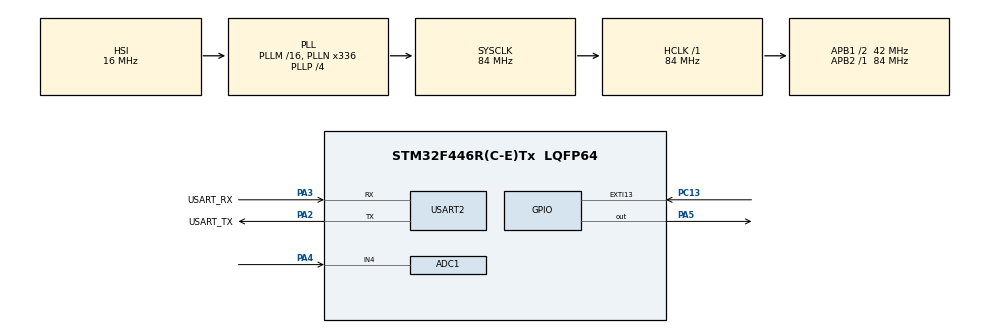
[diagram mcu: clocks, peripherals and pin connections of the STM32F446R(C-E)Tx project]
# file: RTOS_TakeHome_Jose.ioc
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ADC1.Channel-0\#ChannelRegularConversion=ADC_CHANNEL_4
ADC1.NbrOfConversionFlag=1
ADC1.Rank-0\#ChannelRegularConversion=1
ADC1.SamplingTime-0\#ChannelRegularConversion=ADC_SAMPLETIME_3CYCLES
ADC1.master=1
FREERTOS.Tasks01=defaultTask,24,128,StartDefaultTask,Default,NULL,Dynamic,NULL,NULL
Mcu.Family=STM32F4
Mcu.Name=STM32F446R(C-E)Tx
Mcu.Package=LQFP64
NUCLEO-F446RE.BUTTON=1
NUCLEO-F446RE.LD1=true
NVIC.EXTI15_10_IRQn=true\:5\:0\:false\:false\:true\:true\:false\:true\:true
NVIC.PriorityGroup=NVIC_PRIORITYGROUP_4
NVIC.TIM6_DAC_IRQn=true\:15\:0\:false\:false\:true\:false\:false\:true\:true
NVIC.TimeBase=TIM6_DAC_IRQn
NVIC.TimeBaseIP=TIM6
PA13.GPIO_Label=TMS
PA13.Mode=Serial_Wire
PA13.Signal=SYS_JTMS-SWDIO
PA14.GPIO_Label=TCK
PA14.Mode=Serial_Wire
PA14.Signal=SYS_JTCK-SWCLK
PA2.GPIO_Label=USART_TX
PA2.Mode=Asynchronous
PA2.Signal=USART2_TX
PA3.GPIO_Label=USART_RX
PA3.Mode=Asynchronous
PA3.Signal=USART2_RX
PA4.Signal=ADCx_IN4
PA5.Signal=GPIO_Output
PB3.GPIO_Label=SWO
PB3.Signal=SYS_JTDO-SWO
PC13.Signal=GPXTI13
PC14-OSC32_IN.Signal=RCC_OSC32_IN
PC15-OSC32_OUT.Signal=RCC_OSC32_OUT
PH0-OSC_IN.Signal=RCC_OSC_IN
PH1-OSC_OUT.Signal=RCC_OSC_OUT
ProjectManager.HeapSize=0x200
ProjectManager.StackSize=0x400
ProjectManager.TargetToolchain=STM32CubeIDE
RCC.AHBFreq_Value=84000000
RCC.APB1CLKDivider=RCC_HCLK_DIV2
RCC.APB1Freq_Value=42000000
RCC.APB1TimFreq_Value=84000000
RCC.APB2Freq_Value=84000000
RCC.APB2TimFreq_Value=84000000
RCC.CortexFreq_Value=84000000
RCC.FLatency-AdvancedSettings=FLASH_LATENCY_2
RCC.HCLKFreq_Value=84000000
RCC.HSE_VALUE=8000000
RCC.HSI_VALUE=16000000
RCC.LSE_VALUE=32768
RCC.PLLN=336
RCC.PLLP=RCC_PLLP_DIV4
RCC.SYSCLKFreq_VALUE=84000000
RCC.SYSCLKSource=RCC_SYSCLKSOURCE_PLLCLK
RCC.USBFreq_Value=168000000
RCC.VCOOutputFreq_Value=336000000
SH.ADCx_IN4.0=ADC1_IN4,IN4
USART2.VirtualMode=VM_ASYNC
VP_FREERTOS_VS_CMSIS_V2.Mode=CMSIS_V2
VP_NUCLEO-F446RE_VS_BSP_COMMON.Mode=COMMON
VP_SYS_VS_tim6.Mode=TIM6
board=NUCLEO-F446RE

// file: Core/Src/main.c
/* USER CODE BEGIN Header */
/**
  ******************************************************************************
  * @file           : main.c
  * @brief : FreeRTOS sensor sampling, UART telemetry, and host commands
  ******************************************************************************
  * @attention
  *
  * Copyright (c) 2026 STMicroelectronics.
  * All rights reserved.
  *
  * This software is licensed under terms that can be found in the LICENSE file
  * in the root directory of this software component.
  * If no LICENSE file comes with this software, it is provided AS-IS.
  *
  ******************************************************************************
  */
/* Application sampling, framing, and command handling implemented by Jose Gonzalez. */
/* USER CODE END Header */
#include "main.h"
#include "cmsis_os.h"

/* USER CODE BEGIN Includes */
#include <stdio.h>
#include <string.h>
#include "FreeRTOS.h"
/* USER CODE END Includes */

/* USER CODE BEGIN PTD */
typedef struct
{
    uint32_t timestamp;
    uint16_t value;
    uint32_t sequence;
} SensorSample;
/* One received byte plus a generation marker for detecting receive gaps. */
typedef struct
{
    uint32_t generation;
    uint8_t byte;
} CommandRxByte;
/* USER CODE END PTD */

/* USER CODE BEGIN PD */

#define FRAME_SYNC1          0xAA
#define FRAME_SYNC2          0x55
#define FRAME_VERSION        0x01

#define FRAME_TYPE_SENSOR    0x01
#define FRAME_TYPE_STATUS    0x02

#define CMD_START            0x10
#define CMD_STOP             0x11
#define CMD_SET_RATE         0x12
#define CMD_STATUS           0x13

#define MAX_PAYLOAD_LENGTH   32
#define MAX_FRAME_LENGTH     (7 + MAX_PAYLOAD_LENGTH)

#define COMMAND_RX_QUEUE_LENGTH 128U

#define MIN_SAMPLE_PERIOD_MS 10U
#define MAX_SAMPLE_PERIOD_MS 1000U

/* USER CODE END PD */

ADC_HandleTypeDef hadc1;

UART_HandleTypeDef huart2;

/* Definitions for defaultTask */
osThreadId_t defaultTaskHandle;
osThreadId_t secondTaskHandle;
osThreadId_t telemetryTaskHandle;
osThreadId_t commandTaskHandle;

const osThreadAttr_t defaultTask_attributes = {
  .name = "defaultTask",
  .stack_size = 128 * 4,
  .priority = (osPriority_t) osPriorityNormal,
};
const osThreadAttr_t secondTask_attributes = {
    .name = "secondTask",
    .stack_size = 128 * 4,
    .priority = (osPriority_t) osPriorityNormal,
};
const osThreadAttr_t telemetryTask_attributes = {
    .name = "telemetryTask",
    .stack_size = 128 * 4,
    .priority = (osPriority_t) osPriorityNormal,
};
const osThreadAttr_t commandTask_attributes = {
    .name = "commandTask",
    .stack_size = 128 * 4,
    .priority = (osPriority_t) osPriorityNormal,
};
/* USER CODE BEGIN PV */

volatile uint8_t sampling_enabled = 1;
volatile uint32_t sample_period_ms = 100;
osMessageQueueId_t sensorQueueHandle;
osMutexId_t uartTxMutexHandle;
static osMessageQueueId_t commandRxQueueHandle;
static uint8_t uartRxByte;
static volatile uint32_t uartRxGeneration = 0;

/* USER CODE END PV */

void SystemClock_Config(void);
static void MX_GPIO_Init(void);
static void MX_ADC1_Init(void);
static void MX_USART2_UART_Init(void);
void StartDefaultTask(void *argument);
void StartSecondTask(void *argument);
/* USER CODE BEGIN PFP */

void StartTelemetryTask(void *argument);
void StartCommandTask(void *argument);
void CommandUartIRQHandler(void);

/* USER CODE END PFP */

/* USER CODE BEGIN 0 */
/*
* Calculate CRC-16/CCITT-FALSE over the supplied bytes.
* Polynomial: 0x1021; initial value: 0xFFFF;
* no reflection and no final XOR.
* Frames cover version, type, length, and payload with this CRC.
*/
uint16_t CRC16_CCITT(const uint8_t *data, uint16_t length)
{
    uint16_t crc = 0xFFFF;

    for (uint16_t i = 0; i < length; i++)
    {
        crc ^= (uint16_t)data[i] << 8;

        for (uint8_t j = 0; j < 8; j++)
        {
            if (crc & 0x8000)
            {
                crc = (crc << 1) ^ 0x1021;
            }
            else
            {
                crc <<= 1;
            }
        }
    }

    return crc;
}

/* Diagnostics: inspect RAM variables; do not watch USART2->DR. */
volatile uint32_t uart_rx_bytes = 0;
volatile uint32_t uart_rx_queue_overflows = 0;
volatile uint32_t uart_rx_rearm_failures = 0;
volatile uint32_t uart_rx_errors = 0;
volatile uint32_t uart_rx_ore_observed = 0;
volatile uint32_t uart_rx_last_error = 0;
volatile uint32_t command_frames_valid = 0;
volatile uint32_t command_crc_failures = 0;
volatile uint32_t command_bad_headers = 0;
volatile uint8_t uart_rx_trace[64];

static uint8_t commandRxBuffer[MAX_FRAME_LENGTH * 2];
static uint16_t commandRxLength = 0;

static void ProcessCommand(uint8_t type,
                           const uint8_t *payload,
                           uint8_t length);

static void CommandParserFeed(uint8_t byte)
{
    /* Avoid overflowing the receive buffer. */
    if (commandRxLength >= sizeof(commandRxBuffer))
    {
        commandRxLength = 0;
    }

    commandRxBuffer[commandRxLength++] = byte;

    for (;;)
    {
        /* Find the AA 55 synchronization sequence. */
        uint16_t syncIndex = 0;

        while (syncIndex + 1 < commandRxLength)
        {
            if (commandRxBuffer[syncIndex] == FRAME_SYNC1 &&
                commandRxBuffer[syncIndex + 1] == FRAME_SYNC2)
            {
                break;
            }

            syncIndex++;
        }

        if (syncIndex + 1 >= commandRxLength)
        {
            /* Preserve a trailing AA: it might start the next sync. */
            uint8_t keepSyncByte =
                (commandRxLength > 0 &&
                 commandRxBuffer[commandRxLength - 1] == FRAME_SYNC1);

            commandRxLength = 0;

            if (keepSyncByte)
            {
                commandRxBuffer[commandRxLength++] = FRAME_SYNC1;
            }

            return;
        }

        /* Discard noise before the sync sequence. */
        if (syncIndex > 0)
        {
            memmove(commandRxBuffer,
                    commandRxBuffer + syncIndex,
                    commandRxLength - syncIndex);

            commandRxLength -= syncIndex;
        }

        /* Need sync + version + type + length. */
        if (commandRxLength < 5)
        {
            return;
        }

        uint8_t version = commandRxBuffer[2];
        uint8_t type = commandRxBuffer[3];
        uint8_t payloadLength = commandRxBuffer[4];

        /* Reject invalid headers and search again. */
        if (version != FRAME_VERSION ||
            payloadLength > MAX_PAYLOAD_LENGTH)
        {
            command_bad_headers++;
            memmove(commandRxBuffer,
                    commandRxBuffer + 1,
                    --commandRxLength);

            continue;
        }

        uint16_t totalLength = 7U + payloadLength;

        if (commandRxLength < totalLength)
        {
            return;
        }

        uint16_t receivedCrc =
            (uint16_t)commandRxBuffer[totalLength - 2] |
            ((uint16_t)commandRxBuffer[totalLength - 1] << 8);

        uint16_t calculatedCrc =
            CRC16_CCITT(&commandRxBuffer[2],
                        3U + payloadLength);

        if (receivedCrc != calculatedCrc)
        {
            command_crc_failures++;
            /* Drop one byte, then search for the next sync. */
            memmove(commandRxBuffer,
                    commandRxBuffer + 1,
                    --commandRxLength);

            continue;
        }

        /* Valid frame: process its command. */
        command_frames_valid++;
        ProcessCommand(type,
                       &commandRxBuffer[5],
                       payloadLength);

        /* Consume this complete frame. */
        memmove(commandRxBuffer,
                commandRxBuffer + totalLength,
                commandRxLength - totalLength);

        commandRxLength -= totalLength;
    }
}

static void SendStatusResponse(void)
{
    uint8_t frame[12];

    frame[0] = FRAME_SYNC1;
    frame[1] = FRAME_SYNC2;
    frame[2] = FRAME_VERSION;
    frame[3] = FRAME_TYPE_STATUS;
    frame[4] = 5;

    frame[5] = sampling_enabled ? 1 : 0;

    uint32_t period = sample_period_ms;

    frame[6] = (uint8_t)(period);
    frame[7] = (uint8_t)(period >> 8);
    frame[8] = (uint8_t)(period >> 16);
    frame[9] = (uint8_t)(period >> 24);

    uint16_t crc = CRC16_CCITT(&frame[2], 8);

    frame[10] = (uint8_t)crc;
    frame[11] = (uint8_t)(crc >> 8);

    if (osMutexAcquire(uartTxMutexHandle, osWaitForever) == osOK)
    {
        HAL_UART_Transmit(&huart2, frame, sizeof(frame), 100);
        osMutexRelease(uartTxMutexHandle);
    }
}

static void ProcessCommand(uint8_t type,
                           const uint8_t *payload,
                           uint8_t length)
{
    switch (type)
    {
        case CMD_START:
            if (length == 0)
            {
                sampling_enabled = 1;
            }
            break;

        case CMD_STOP:
            if (length == 0)
            {
                sampling_enabled = 0;
            }
            break;

        case CMD_SET_RATE:
            if (length == 4)
            {
                uint32_t period =
                    (uint32_t)payload[0] |
                    ((uint32_t)payload[1] << 8) |
                    ((uint32_t)payload[2] << 16) |
                    ((uint32_t)payload[3] << 24);

                if (period >= MIN_SAMPLE_PERIOD_MS &&
                    period <= MAX_SAMPLE_PERIOD_MS)
                {
                    sample_period_ms = period;
                }
            }
            break;

        case CMD_STATUS:
            if (length == 0)
            {
                SendStatusResponse();
            }
            break;

        default:
            /* Ignore unsupported commands. */
            break;
    }
}

/* USER CODE END 0 */

int main(void)
{

  /* MCU Configuration--------------------------------------------------------*/

  /* Reset of all peripherals, Initializes the Flash interface and the Systick. */
  HAL_Init();

  /* Configure the system clock */
  SystemClock_Config();

  /* Initialize all configured peripherals */
  MX_GPIO_Init();
  MX_ADC1_Init();
  MX_USART2_UART_Init();

  /* Init scheduler */
  osKernelInitialize();

  /* USER CODE BEGIN RTOS_MUTEX */
  uartTxMutexHandle = osMutexNew(NULL);
  /* USER CODE END RTOS_MUTEX */

  /* USER CODE BEGIN RTOS_QUEUES */

  sensorQueueHandle = osMessageQueueNew(16, sizeof(SensorSample), NULL);
  commandRxQueueHandle = osMessageQueueNew(COMMAND_RX_QUEUE_LENGTH,
                                         sizeof(CommandRxByte), NULL);
  if (sensorQueueHandle == NULL || commandRxQueueHandle == NULL ||
      uartTxMutexHandle == NULL)
  {
      Error_Handler();
  }

  /* USER CODE END RTOS_QUEUES */

  /* Create the thread(s) */
  /* creation of defaultTask */
  defaultTaskHandle = osThreadNew(StartDefaultTask, NULL, &defaultTask_attributes);
  secondTaskHandle = osThreadNew(StartSecondTask, NULL, &secondTask_attributes);
  telemetryTaskHandle = osThreadNew(StartTelemetryTask, NULL, &telemetryTask_attributes);
  commandTaskHandle = osThreadNew(StartCommandTask, NULL, &commandTask_attributes);

  /* Initialize leds */
  BSP_LED_Init(LED2);

  /* Initialize USER push-button, will be used to trigger an interrupt each time it's pressed.*/
  BSP_PB_Init(BUTTON_USER, BUTTON_MODE_EXTI);

  /* Start scheduler */
  osKernelStart();

  /* We should never get here as control is now taken by the scheduler */

  /* Infinite loop */
  while (1)
  {

  }
}

void SystemClock_Config(void)
{
  RCC_OscInitTypeDef RCC_OscInitStruct = {0};
  RCC_ClkInitTypeDef RCC_ClkInitStruct = {0};

  /** Configure the main internal regulator output voltage
  */
  __HAL_RCC_PWR_CLK_ENABLE();
  __HAL_PWR_VOLTAGESCALING_CONFIG(PWR_REGULATOR_VOLTAGE_SCALE3);

  /** Initializes the RCC Oscillators according to the specified parameters
  * in the RCC_OscInitTypeDef structure.
  */
  RCC_OscInitStruct.OscillatorType = RCC_OSCILLATORTYPE_HSI;
  RCC_OscInitStruct.HSIState = RCC_HSI_ON;
  RCC_OscInitStruct.HSICalibrationValue = RCC_HSICALIBRATION_DEFAULT;
  RCC_OscInitStruct.PLL.PLLState = RCC_PLL_ON;
  RCC_OscInitStruct.PLL.PLLSource = RCC_PLLSOURCE_HSI;
  RCC_OscInitStruct.PLL.PLLM = 16;
  RCC_OscInitStruct.PLL.PLLN = 336;
  RCC_OscInitStruct.PLL.PLLP = RCC_PLLP_DIV4;
  RCC_OscInitStruct.PLL.PLLQ = 2;
  RCC_OscInitStruct.PLL.PLLR = 2;
  if (HAL_RCC_OscConfig(&RCC_OscInitStruct) != HAL_OK)
  {
    Error_Handler();
  }

  /** Initializes the CPU, AHB and APB buses clocks
  */
  RCC_ClkInitStruct.ClockType = RCC_CLOCKTYPE_HCLK|RCC_CLOCKTYPE_SYSCLK
                              |RCC_CLOCKTYPE_PCLK1|RCC_CLOCKTYPE_PCLK2;
  RCC_ClkInitStruct.SYSCLKSource = RCC_SYSCLKSOURCE_PLLCLK;
  RCC_ClkInitStruct.AHBCLKDivider = RCC_SYSCLK_DIV1;
  RCC_ClkInitStruct.APB1CLKDivider = RCC_HCLK_DIV2;
  RCC_ClkInitStruct.APB2CLKDivider = RCC_HCLK_DIV1;

  if (HAL_RCC_ClockConfig(&RCC_ClkInitStruct, FLASH_LATENCY_2) != HAL_OK)
  {
    Error_Handler();
  }
}

static void MX_ADC1_Init(void)
{

  ADC_ChannelConfTypeDef sConfig = {0};

  /** Configure the global features of the ADC (Clock, Resolution, Data Alignment and number of conversion)
  */
  hadc1.Instance = ADC1;
  hadc1.Init.ClockPrescaler = ADC_CLOCK_SYNC_PCLK_DIV4;
  hadc1.Init.Resolution = ADC_RESOLUTION_12B;
  hadc1.Init.ScanConvMode = DISABLE;
  hadc1.Init.ContinuousConvMode = DISABLE;
  hadc1.Init.DiscontinuousConvMode = DISABLE;
  hadc1.Init.ExternalTrigConvEdge = ADC_EXTERNALTRIGCONVEDGE_NONE;
  hadc1.Init.ExternalTrigConv = ADC_SOFTWARE_START;
  hadc1.Init.DataAlign = ADC_DATAALIGN_RIGHT;
  hadc1.Init.NbrOfConversion = 1;
  hadc1.Init.DMAContinuousRequests = DISABLE;
  hadc1.Init.EOCSelection = ADC_EOC_SINGLE_CONV;
  if (HAL_ADC_Init(&hadc1) != HAL_OK)
  {
    Error_Handler();
  }

  /** Configure for the selected ADC regular channel its corresponding rank in the sequencer and its sample time.
  */
  sConfig.Channel = ADC_CHANNEL_4;
  sConfig.Rank = 1;
  sConfig.SamplingTime = ADC_SAMPLETIME_3CYCLES;
  if (HAL_ADC_ConfigChannel(&hadc1, &sConfig) != HAL_OK)
  {
    Error_Handler();
  }

}

static void MX_USART2_UART_Init(void)
{

  huart2.Instance = USART2;
  huart2.Init.BaudRate = 115200;
  huart2.Init.WordLength = UART_WORDLENGTH_8B;
  huart2.Init.StopBits = UART_STOPBITS_1;
  huart2.Init.Parity = UART_PARITY_NONE;
  huart2.Init.Mode = UART_MODE_TX_RX;
  huart2.Init.HwFlowCtl = UART_HWCONTROL_NONE;
  huart2.Init.OverSampling = UART_OVERSAMPLING_16;
  if (HAL_UART_Init(&huart2) != HAL_OK)
  {
    Error_Handler();
  }

}

static void MX_GPIO_Init(void)
{

  /* GPIO Ports Clock Enable */
  __HAL_RCC_GPIOC_CLK_ENABLE();
  __HAL_RCC_GPIOH_CLK_ENABLE();
  __HAL_RCC_GPIOA_CLK_ENABLE();
  __HAL_RCC_GPIOB_CLK_ENABLE();

}

void StartDefaultTask(void *argument)
{
  /* USER CODE BEGIN 5 */
  /* Infinite loop */
	for(;;)
	{
	  HAL_GPIO_TogglePin(GPIOA, GPIO_PIN_5);
	  osDelay(500);
	}
  /* USER CODE END 5 */
}

void StartSecondTask(void *argument)
{
	SensorSample sample;
	uint32_t sequence = 0;

    for(;;)
    {
    	if (sampling_enabled)
    	        {
    	            HAL_ADC_Start(&hadc1);

    	            if (HAL_ADC_PollForConversion(&hadc1, 10) == HAL_OK)
    	            {
    	                sample.value = HAL_ADC_GetValue(&hadc1);
    	                sample.timestamp = HAL_GetTick();
    	                sample.sequence = sequence++;

    	                osMessageQueuePut(
    	                    sensorQueueHandle,
    	                    &sample,
    	                    0,
    	                    0
    	                );
    	            }

			HAL_ADC_Stop(&hadc1);
			}
    		osDelay(sample_period_ms);
}
}

void StartTelemetryTask(void *argument)
{
    SensorSample receivedSample;

    for(;;)
        {
            osStatus_t status = osMessageQueueGet(
                sensorQueueHandle,
                &receivedSample,
                NULL,
                osWaitForever
            );

            if (status == osOK)
            {
            	uint8_t frame[17];

            	frame[0] = FRAME_SYNC1;
            	frame[1] = FRAME_SYNC2;
            	frame[2] = FRAME_VERSION;
            	frame[3] = FRAME_TYPE_SENSOR;
            	frame[4] = 10;  // payload length

            	frame[5] = (uint8_t)(receivedSample.sequence >> 0);
            	frame[6] = (uint8_t)(receivedSample.sequence >> 8);
            	frame[7] = (uint8_t)(receivedSample.sequence >> 16);
            	frame[8] = (uint8_t)(receivedSample.sequence >> 24);

            	frame[9]  = (uint8_t)(receivedSample.timestamp >> 0);
            	frame[10] = (uint8_t)(receivedSample.timestamp >> 8);
            	frame[11] = (uint8_t)(receivedSample.timestamp >> 16);
            	frame[12] = (uint8_t)(receivedSample.timestamp >> 24);

            	frame[13] = (uint8_t)(receivedSample.value >> 0);
            	frame[14] = (uint8_t)(receivedSample.value >> 8);

            	uint16_t crc = CRC16_CCITT(&frame[2], 13);

            	frame[15] = (uint8_t)(crc >> 0);
            	frame[16] = (uint8_t)(crc >> 8);

                if (osMutexAcquire(uartTxMutexHandle, osWaitForever) == osOK)
                {
                    HAL_UART_Transmit(
                        &huart2,
                        frame,
                        sizeof(frame),
                        100
                    );

                    osMutexRelease(uartTxMutexHandle);
                }
            }
        }
}

/*
 * Arm a single-byte interrupt receive. Called only from the USART2 IRQ,
 * or from the command task while interrupts are briefly masked.
 */
static void CommandRxArm(void)
{
    if (huart2.RxState == HAL_UART_STATE_READY)
    {
        if (HAL_UART_Receive_IT(&huart2, &uartRxByte, 1) != HAL_OK)
        {
            uart_rx_rearm_failures++;
        }
    }
}

/*
 * ISR callback: copy valid bytes into a bounded RTOS queue.
 * No parsing, transmitting, sleeping, or waiting is performed here.
 * Rearming is deferred until HAL_UART_IRQHandler has fully returned,
 * so HAL's error path cannot cancel a receive armed inside a callback.
 */
void HAL_UART_RxCpltCallback(UART_HandleTypeDef *huart)
{
    if (huart->Instance != USART2 ||
        HAL_UART_GetError(huart) != HAL_UART_ERROR_NONE)
    {
        return;
    }

    CommandRxByte item = {uartRxGeneration, uartRxByte};
    uart_rx_trace[uart_rx_bytes % sizeof(uart_rx_trace)] = item.byte;
    uart_rx_bytes++;

    /* CMSIS-RTOS2 selects the FreeRTOS FromISR API; timeout must be zero. */
    if (osMessageQueuePut(commandRxQueueHandle, &item, 0, 0) != osOK)
    {
        uart_rx_queue_overflows++;
        uartRxGeneration++;
    }
}

/* Record a receive gap; the task discards partial framing across that gap. */
void HAL_UART_ErrorCallback(UART_HandleTypeDef *huart)
{
    if (huart->Instance == USART2)
    {
        uint32_t error = HAL_UART_GetError(huart);
        uart_rx_errors++;
        uart_rx_last_error = error;
        if ((error & HAL_UART_ERROR_ORE) != 0U)
        {
            uart_rx_ore_observed++;
        }
        uartRxGeneration++;
    }
}

/* Called by USART2_IRQHandler in stm32f4xx_it.c. */
void CommandUartIRQHandler(void)
{
    HAL_UART_IRQHandler(&huart2);
    CommandRxArm();
}

/*
 * Receive commands through an interrupt-fed queue. Waiting on the queue
 * blocks this task and releases the CPU. Parsing and status transmission
 * stay in task context. A generation change resets only partial framing.
 */
void StartCommandTask(void *argument)
{
    CommandRxByte item;
    uint32_t parserGeneration = 0;

    /* This priority is allowed to call FreeRTOS APIs from an interrupt. */
    HAL_NVIC_SetPriority(USART2_IRQn,
                         configLIBRARY_MAX_SYSCALL_INTERRUPT_PRIORITY, 0);
    HAL_NVIC_EnableIRQ(USART2_IRQn);

    for (;;)
    {
        /* Recover a stopped receive (including an unsuccessful rearm).
         * This short critical section protects HAL state from the ISR;
         * HAL_UART_Receive_IT does not wait for a byte.
         */
        uint32_t interruptMask = __get_PRIMASK();
        __disable_irq();
        CommandRxArm();
        __set_PRIMASK(interruptMask);

        osStatus_t status = osMessageQueueGet(commandRxQueueHandle, &item,
                                              NULL, 100);
        if (status == osOK)
        {
            if (item.generation != parserGeneration)
            {
                commandRxLength = 0;
                parserGeneration = item.generation;
            }
            CommandParserFeed(item.byte);
        }
        else if (status != osErrorTimeout)
        {
            Error_Handler();
        }
    }
}

void HAL_TIM_PeriodElapsedCallback(TIM_HandleTypeDef *htim)
{
  if (htim->Instance == TIM6)
  {
    HAL_IncTick();
  }
}

void Error_Handler(void)
{
  __disable_irq();
  while (1)
  {
  }
}
